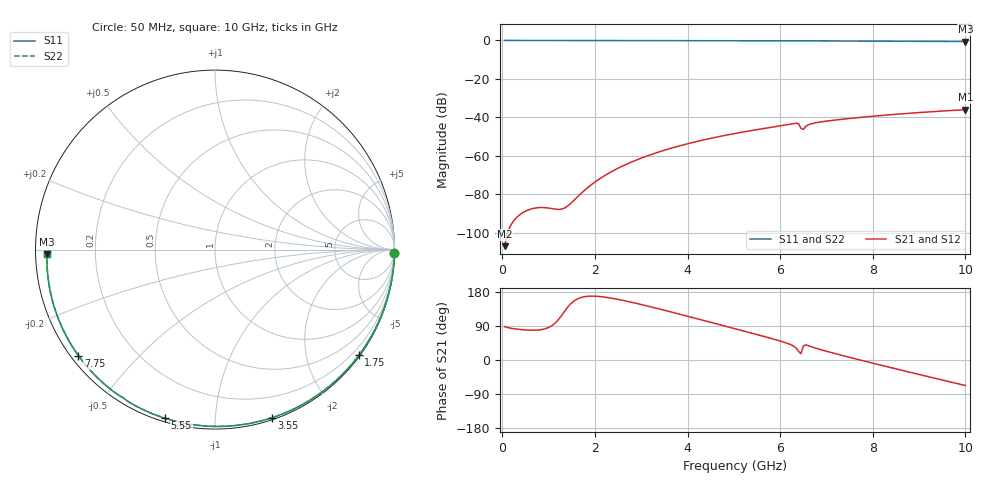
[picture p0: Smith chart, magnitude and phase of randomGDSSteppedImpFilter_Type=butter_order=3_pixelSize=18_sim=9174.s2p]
! freq	dB(S11)	phase(S11)	dB(S12)	phase(S12)
!  dB(S21)	phase(S21)	dB(S22)	phase(S22)
!S-par simulation data
#  GHz  S  DB  R 50
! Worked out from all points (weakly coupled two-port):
!   200 points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, 50 MHz to 10 GHz, reference 50 ohm
!   highest |S21| = -36.03 dB at 10 GHz (marker M1); lowest = -107.0 dB at 50 MHz (marker M2)
!   lowest |S11| = -0.6 dB at 10 GHz (marker M3), VSWR 30.68, Z = 1.63 - j0.66 ohm
!   |S11| at or under -10 dB: nowhere
!   |S22| runs from -0.6 to 0.0 dB; largest |S21 - S12| = 0
!   S11 on the Smith chart (normalised r, x): 50 MHz: open; 1.75 GHz: 0.03, -3.05; 3.55 GHz: 0.02, -1.40; 5.55 GHz: 0.02, -0.75; 7.75 GHz: 0.02, -0.34; 10 GHz: 0.03, -0.01
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0.05  -0.00 -1.1  -107.01 87.9  -107.01 87.9  -0.00 -1.1
0.8  -0.02 -16.8  -86.93 79.4  -86.93 79.4  -0.02 -16.8
1.65  -0.04 -34.3  -80.73 162.7  -80.73 162.7  -0.04 -34.3
1.75  -0.05 -36.3  -78.50 166.5  -78.50 166.5  -0.05 -36.3
2.05  -0.05 -42.3  -72.81 168.1  -72.81 168.1  -0.05 -42.3
2.45  -0.06 -50.3  -67.08 161.1  -67.08 161.1  -0.06 -50.2
2.9  -0.08 -59.0  -62.15 149.3  -62.15 149.3  -0.08 -59.0
3.4  -0.09 -68.5  -57.85 134.4  -57.85 134.4  -0.09 -68.4
3.55  -0.09 -71.2  -56.73 129.7  -56.73 129.7  -0.09 -71.2
4.3  -0.12 -84.9  -51.99 105.9  -51.99 105.9  -0.12 -84.8
5.05  -0.15 -98.0  -48.27 81.8  -48.27 81.8  -0.15 -97.9
5.55  -0.17 -106.5  -46.18 65.5  -46.18 65.5  -0.17 -106.4
6.35  -0.22 -119.8  -43.05 31.0  -43.05 31.0  -0.22 -119.7
6.4  -0.23 -120.6  -43.29 22.7  -43.29 22.7  -0.23 -120.6
6.45  -0.25 -121.4  -45.74 16.7  -45.74 16.7  -0.25 -121.3
6.5  -0.25 -122.1  -46.29 36.6  -46.29 36.6  -0.25 -122.0
6.6  -0.24 -123.7  -43.97 38.1  -43.97 38.1  -0.24 -123.6
6.7  -0.25 -125.3  -43.19 33.9  -43.19 33.9  -0.24 -125.3
7.75  -0.32 -142.1  -39.98 -0.7  -39.98 -0.7  -0.32 -142.1
8.35  -0.38 -151.7  -38.69 -18.9  -38.69 -18.9  -0.38 -151.6
9.2  -0.47 -165.3  -37.18 -44.1  -37.18 -44.1  -0.47 -165.2
10  -0.57 -178.5  -36.03 -67.3  -36.03 -67.3  -0.57 -178.4
